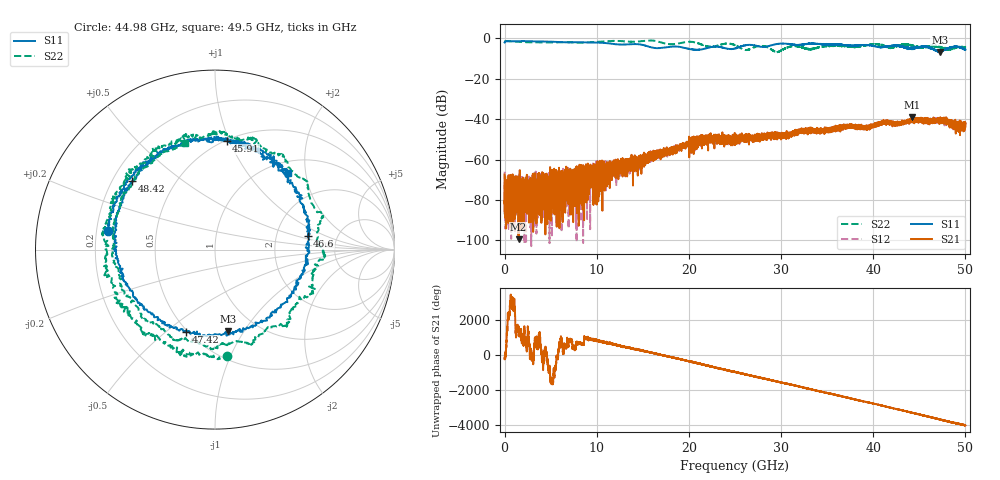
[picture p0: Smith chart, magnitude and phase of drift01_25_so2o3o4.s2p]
!Created with skrf (http://scikit-rf.org).
# Hz S RI R 50.0
!freq ReS11 ImS11 ReS21 ImS21 ReS12 ImS12 ReS22 ImS22
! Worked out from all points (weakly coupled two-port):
!   10001 points, 300 kHz to 50 GHz, reference 50 ohm
!   highest |S21| = -39.04 dB at 44.22 GHz (marker M1); lowest = -99.5 dB at 1.515 GHz (marker M2)
!   lowest |S11| = -6.7 dB at 47.22 GHz (marker M3), VSWR 2.71, Z = 36.9 - j42.6 ohm
!   |S11| at or under -10 dB: nowhere
!   |S22| runs from -6.9 to -1.0 dB; largest |S21 - S12| = 0.0039
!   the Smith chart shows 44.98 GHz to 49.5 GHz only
!   S11 on the Smith chart (normalised r, x): 44.98 GHz: 0.25, +0.08; 45.91 GHz: 0.51, +0.98; 46.6 GHz: 3.03, +0.61; 47.42 GHz: 0.49, -0.59; 48.42 GHz: 0.28, +0.33; 49.5 GHz: 1.23, +1.60
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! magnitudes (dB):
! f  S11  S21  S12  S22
! 300 kHz  -2.1  -67.4  -66.0  -1.3
! 255.3 MHz  -1.4  -76.4  -76.3  -1.4
! 1.515 GHz  -1.4  -99.5  -73.3  -1.7
! 3.61 GHz  -1.5  -74.2  -71.8  -2.0
! 4.785 GHz  -1.6  -70.5  -81.9  -2.1
! 8.335 GHz  -1.9  -69.6  -68.3  -2.1
! 16.67 GHz  -4.8  -56.0  -56.9  -1.6
! 21.94 GHz  -4.8  -50.3  -48.9  -3.9
! 25 GHz  -5.0  -49.8  -50.3  -3.4
! 29.53 GHz  -2.8  -47.1  -49.0  -6.7
! 31.29 GHz  -3.1  -46.9  -47.3  -4.0
! 33.34 GHz  -2.6  -45.6  -45.9  -5.3
! 41.67 GHz  -3.9  -41.5  -41.5  -4.6
! 44.22 GHz  -4.8  -39.0  -40.6  -3.5
! 44.98 GHz  -4.3  -40.8  -40.2  -4.5
! 45.91 GHz  -4.3  -41.1  -42.0  -4.0
! 46.6 GHz  -5.7  -42.0  -40.7  -3.7
! 47.22 GHz  -6.7  -41.6  -39.9  -4.5
! 47.42 GHz  -6.3  -40.9  -40.6  -4.4
! 48.42 GHz  -4.5  -40.5  -42.4  -5.2
! 49.5 GHz  -4.6  -43.6  -42.6  -4.2
! 50 GHz  -5.6  -42.0  -43.0  -4.3
